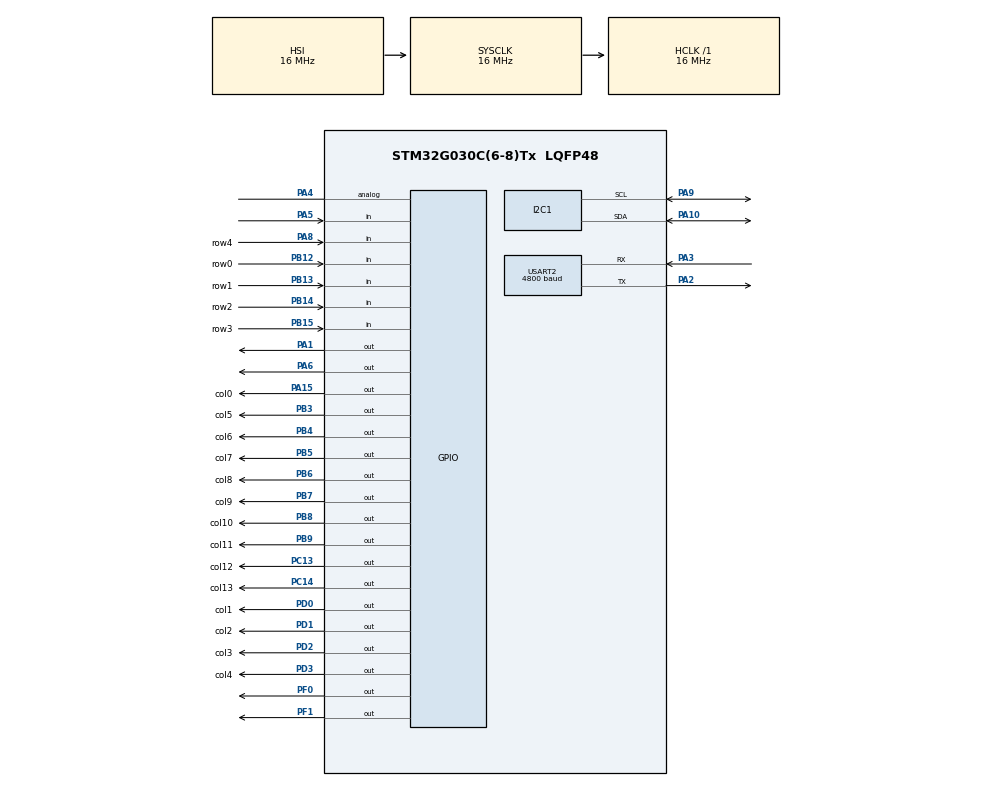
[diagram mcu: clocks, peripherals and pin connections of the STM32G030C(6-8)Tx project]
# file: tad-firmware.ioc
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Mcu.Family=STM32G0
Mcu.Name=STM32G030C(6-8)Tx
Mcu.Package=LQFP48
PA1.Signal=GPIO_Output
PA10.GPIO_Pu=GPIO_PULLUP
PA10.Mode=I2C
PA10.Signal=I2C1_SDA
PA13.Mode=Serial_Wire
PA13.Signal=SYS_SWDIO
PA14-BOOT0.Mode=Serial_Wire
PA14-BOOT0.Signal=SYS_SWCLK
PA15.GPIO_Label=col0
PA15.Signal=GPIO_Output
PA2.Mode=Asynchronous
PA2.Signal=USART2_TX
PA3.Mode=Asynchronous
PA3.Signal=USART2_RX
PA4.Signal=GPIO_Analog
PA5.GPIO_PuPd=GPIO_PULLUP
PA5.Signal=GPIO_Input
PA6.Signal=GPIO_Output
PA8.GPIO_Label=row4
PA8.GPIO_PuPd=GPIO_PULLDOWN
PA8.Signal=GPIO_Input
PA9.GPIO_Pu=GPIO_PULLUP
PA9.Mode=I2C
PA9.Signal=I2C1_SCL
PB12.GPIO_Label=row0
PB12.GPIO_PuPd=GPIO_PULLDOWN
PB12.Signal=GPIO_Input
PB13.GPIO_Label=row1
PB13.GPIO_PuPd=GPIO_PULLDOWN
PB13.Signal=GPIO_Input
PB14.GPIO_Label=row2
PB14.GPIO_PuPd=GPIO_PULLDOWN
PB14.Signal=GPIO_Input
PB15.GPIO_Label=row3
PB15.GPIO_PuPd=GPIO_PULLDOWN
PB15.Signal=GPIO_Input
PB3.GPIO_Label=col5
PB3.Signal=GPIO_Output
PB4.GPIO_Label=col6
PB4.Signal=GPIO_Output
PB5.GPIO_Label=col7
PB5.Signal=GPIO_Output
PB6.GPIO_Label=col8
PB6.Signal=GPIO_Output
PB7.GPIO_Label=col9
PB7.Signal=GPIO_Output
PB8.GPIO_Label=col10
PB8.Signal=GPIO_Output
PB9.GPIO_Label=col11
PB9.Signal=GPIO_Output
PC13.GPIO_Label=col12
PC13.Signal=GPIO_Output
PC14-OSC32_IN\ (PC14).GPIO_Label=col13
PC14-OSC32_IN\ (PC14).Signal=GPIO_Output
PD0.GPIO_Label=col1
PD0.Signal=GPIO_Output
PD1.GPIO_Label=col2
PD1.Signal=GPIO_Output
PD2.GPIO_Label=col3
PD2.Signal=GPIO_Output
PD3.GPIO_Label=col4
PD3.Signal=GPIO_Output
PF0-OSC_IN\ (PF0).Signal=GPIO_Output
PF1-OSC_OUT\ (PF1).Signal=GPIO_Output
ProjectManager.HeapSize=0x200
ProjectManager.StackSize=0x400
ProjectManager.TargetToolchain=STM32CubeIDE
RCC.AHBFreq_Value=16000000
RCC.CortexFreq_Value=16000000
RCC.EXTERNAL_CLOCK_VALUE=12288000
RCC.HCLKFreq_Value=16000000
RCC.HSE_VALUE=8000000
RCC.HSI_VALUE=16000000
RCC.LSE_VALUE=32768
RCC.SYSCLKFreq_VALUE=16000000
RCC.VCOOutputFreq_Value=128000000
TIM1.Prescaler=0
USART2.BaudRate=4800
USART2.SwapParam=ADVFEATURE_SWAP_DISABLE
USART2.VirtualMode-Asynchronous=VM_ASYNC
VP_TIM1_VS_ClockSourceINT.Mode=Internal
board=custom

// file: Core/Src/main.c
/* USER CODE BEGIN Header */
/**
 ******************************************************************************
 * @file           : main.c
 * @brief          : Main program body
 ******************************************************************************
 * @attention
 *
 * <h2><center>&copy; Copyright (c) 2021 STMicroelectronics.
 * All rights reserved.</center></h2>
 *
 * This software component is licensed by ST under BSD 3-Clause license,
 * the "License"; You may not use this file except in compliance with the
 * License. You may obtain a copy of the License at:
 *                        opensource.org/licenses/BSD-3-Clause
 *
 ******************************************************************************
 */
/* USER CODE END Header */
#include "main.h"

/* USER CODE BEGIN Includes */
#include <stdio.h>
#include <string.h>
#include <math.h>
/* USER CODE END Includes */

/* USER CODE BEGIN PD */
#define KEYBOARD_N_COLUMNS 14
#define KEYBOARD_N_ROWS 5

#define BYTE_TO_BINARY_PATTERN "%c%c%c%c%c%c%c%c"
#define BYTE_TO_BINARY(byte)     \
  (byte & 0x80 ? '1' : '0'),     \
      (byte & 0x40 ? '1' : '0'), \
      (byte & 0x20 ? '1' : '0'), \
      (byte & 0x10 ? '1' : '0'), \
      (byte & 0x08 ? '1' : '0'), \
      (byte & 0x04 ? '1' : '0'), \
      (byte & 0x02 ? '1' : '0'), \
      (byte & 0x01 ? '1' : '0')

#define KEYBOARD_NTA_FORMAT "1 %u %u\r\n%n"
#define KEYBOARD_NTA_REDIRECT_MESSAGE "@NTAREDIR@"
/* USER CODE END PD */

I2C_HandleTypeDef hi2c1;

TIM_HandleTypeDef htim1;

UART_HandleTypeDef huart2;

/* USER CODE BEGIN PV */
uint16_t KEYBOARD_COLUMN_PINS[KEYBOARD_N_COLUMNS] = {col0_Pin, col1_Pin, col2_Pin, col3_Pin, col4_Pin, col5_Pin, col6_Pin, col7_Pin, col8_Pin, col9_Pin, col10_Pin, col11_Pin, col12_Pin, col13_Pin};
GPIO_TypeDef *KEYBOARD_COLUMN_PORT[KEYBOARD_N_COLUMNS] = {col0_GPIO_Port, col1_GPIO_Port, col2_GPIO_Port, col3_GPIO_Port, col4_GPIO_Port, col5_GPIO_Port, col6_GPIO_Port, col7_GPIO_Port, col8_GPIO_Port, col9_GPIO_Port, col10_GPIO_Port, col11_GPIO_Port, col12_GPIO_Port, col13_GPIO_Port};
uint16_t KEYBOARD_ROW_PINS[KEYBOARD_N_ROWS] = {row0_Pin, row1_Pin, row2_Pin, row3_Pin, row4_Pin};
GPIO_TypeDef *KEYBOARD_ROW_PORT[KEYBOARD_N_ROWS] = {row0_GPIO_Port, row1_GPIO_Port, row2_GPIO_Port, row3_GPIO_Port, row4_GPIO_Port};

uint8_t KEYBOARD_STATE[KEYBOARD_N_COLUMNS][KEYBOARD_N_ROWS] = {0};
uint8_t KEYBOARD_STATE_LAST[KEYBOARD_N_COLUMNS][KEYBOARD_N_ROWS] = {0};
uint8_t KEYBOARD_PUSHED[KEYBOARD_N_COLUMNS][KEYBOARD_N_ROWS] = {0};
uint8_t KEYBOARD_RELEASED[KEYBOARD_N_COLUMNS][KEYBOARD_N_ROWS] = {0};
/* USER CODE END PV */

void SystemClock_Config(void);
static void MX_GPIO_Init(void);
static void MX_TIM1_Init(void);
static void MX_I2C1_Init(void);
static void MX_USART2_UART_Init(void);
/* USER CODE BEGIN PFP */
void print_adc();
/* USER CODE END PFP */

/* USER CODE BEGIN 0 */

void keyboard_set_nta_redirect(int toset)
{
  uint8_t MSG[32];
  memset(MSG, 0, sizeof(MSG));
  int msglen;
  sprintf(MSG, "%s %d\r\n%n", KEYBOARD_NTA_REDIRECT_MESSAGE, toset, &msglen);
  HAL_UART_Transmit(&huart2, MSG, msglen*sizeof(char), 100);
}

void delay_us(uint16_t us)
{
  __HAL_TIM_SET_COUNTER(&htim1, 0); // set the counter value a 0
  while (__HAL_TIM_GET_COUNTER(&htim1) < us)
    ; // wait for the counter to reach the us input in the parameter
}

void send_keys(int report)
{
  uint8_t MSG[16];
  for (int i = 0; i < KEYBOARD_N_COLUMNS; i++)
  {

    HAL_GPIO_WritePin(KEYBOARD_COLUMN_PORT[i], KEYBOARD_COLUMN_PINS[i], 1);

    for (int j = 0; j < KEYBOARD_N_ROWS; j++)
    {

      KEYBOARD_STATE_LAST[i][j] = KEYBOARD_STATE[i][j];
      KEYBOARD_STATE[i][j] = HAL_GPIO_ReadPin(KEYBOARD_ROW_PORT[j], KEYBOARD_ROW_PINS[j]);

      if (KEYBOARD_STATE_LAST[i][j] != KEYBOARD_STATE[i][j])
      {
        KEYBOARD_PUSHED[i][j] = KEYBOARD_STATE[i][j];
        KEYBOARD_RELEASED[i][j] = !KEYBOARD_STATE[i][j];
        memset(MSG, 0, sizeof(MSG));
        int msglength;
        sprintf(MSG, KEYBOARD_NTA_FORMAT, i + KEYBOARD_N_COLUMNS * j, KEYBOARD_STATE[i][j], &msglength);
        if (report)
          HAL_UART_Transmit(&huart2, MSG, msglength * sizeof(char), 100);
      }
    }

    HAL_GPIO_WritePin(KEYBOARD_COLUMN_PORT[i], KEYBOARD_COLUMN_PINS[i], 0);
  };
}

void print_adc()
{
  keyboard_set_nta_redirect(1);
  uint8_t writer = 0b10010000;
  HAL_I2C_Mem_Write(&hi2c1, 75 << 1, 0x3, I2C_MEMADD_SIZE_8BIT, &writer, 1, 0xFFF);
  uint8_t MSG[128] = {"\e[3J\033c\e[1;34mADC READS:\e[0m\r\n\n\n\n\n"};
  HAL_UART_Transmit(&huart2, MSG, sizeof(MSG), 100);
  int adresses_ADC[6] = {0xe, 0xF, 0x10, 0x11, 0x12, 0x13};
  float resolution_ADC[6] = {255, 255, 255, 128, 255, 255};
  float maxvalue_ADC[6] = {5.1, 5.1, 100, 7.62, 5.66, 3.39};
  const char *descriptions_ADC[6] = {"BatV", "SysV", "NTCV", "InpV", "ChgA", "InpA"};
  int i = 0;
  uint8_t reader;
  while (i < 6)
  {
    memset(MSG, 0, sizeof(MSG));
    HAL_I2C_Mem_Read(&hi2c1, 75 << 1, adresses_ADC[i], I2C_MEMADD_SIZE_8BIT, &reader, 1, 0xFFF);
    float input = reader;
    float temp1 = input / resolution_ADC[i];
    float output = temp1 * maxvalue_ADC[i];
    sprintf(MSG, "\r\n%s: %5.3f\r\n", descriptions_ADC[i], output);
    HAL_UART_Transmit(&huart2, MSG, sizeof(MSG), 100);
    i++;
  }
  keyboard_set_nta_redirect(0);
}

// This function is to be used with the debugger connected to the STM, in order to, in real time, modify an I2c device's memory.
void EDIT_I2C_MEMORY_DEBUG()
{
  keyboard_set_nta_redirect(1);
  uint8_t MSG[128] = {"\e[3J\033c\e[1;34mMemory Editing:\e[0m\r\n\n\n\n\n"};
  HAL_UART_Transmit(&huart2, MSG, sizeof(MSG), 100);
  HAL_GPIO_WritePin(GPIOA, GPIO_PIN_6, 1);
  HAL_Delay(150);
  HAL_GPIO_WritePin(GPIOA, GPIO_PIN_6, 0);
  int i = 0;
  uint8_t reader;
  // breakpoint here, edit i to select register to edit/view
  memset(MSG, 0, sizeof(MSG));
  HAL_I2C_Mem_Read(&hi2c1, 75 << 1, i, I2C_MEMADD_SIZE_8BIT, &reader, 1, 0xFFF);
  sprintf(MSG, "%u read as: " BYTE_TO_BINARY_PATTERN "\r\n", i, BYTE_TO_BINARY(reader));
  HAL_UART_Transmit(&huart2, MSG, sizeof(MSG), 100);
  // breakpoint here, edit reader to desired value
  sprintf(MSG, "%u changed to: " BYTE_TO_BINARY_PATTERN "\r\n", i, BYTE_TO_BINARY(reader));
  HAL_UART_Transmit(&huart2, MSG, sizeof(MSG), 100);
  HAL_I2C_Mem_Write(&hi2c1, 75 << 1, i, I2C_MEMADD_SIZE_8BIT, &reader, 1, 0xFFF);
  HAL_I2C_Mem_Read(&hi2c1, 75 << 1, i, I2C_MEMADD_SIZE_8BIT, &reader, 1, 0xFFF);
  sprintf(MSG, "%u confirm: " BYTE_TO_BINARY_PATTERN "\r\n", i, BYTE_TO_BINARY(reader));
  HAL_UART_Transmit(&huart2, MSG, sizeof(MSG), 100);
  keyboard_set_nta_redirect(0);
}
/* USER CODE END 0 */

int main(void)
{

  /* MCU Configuration--------------------------------------------------------*/

  /* Reset of all peripherals, Initializes the Flash interface and the Systick. */
  HAL_Init();

  /* Configure the system clock */
  SystemClock_Config();

  /* Initialize all configured peripherals */
  MX_GPIO_Init();
  MX_TIM1_Init();
  MX_I2C1_Init();
  MX_USART2_UART_Init();
  /* USER CODE BEGIN 2 */

  HAL_TIM_Base_Start(&htim1);
  /* USER CODE END 2 */

  /* Infinite loop */
  /* USER CODE BEGIN WHILE */

  // HAL_I2C_Mem_Read(&hi2c1, 75<<1, 0x00, I2C_MEMADD_SIZE_8BIT,&reader, 1, 0xFFF);
  uint8_t writer = 0b11111110;
  HAL_I2C_Mem_Write(&hi2c1, 75 << 1, 0x7, I2C_MEMADD_SIZE_8BIT, &writer, 1, 0xFFF);
  writer = 0b01001000;
  HAL_I2C_Mem_Write(&hi2c1, 75 << 1, 0x0, I2C_MEMADD_SIZE_8BIT, &writer, 1, 0xFFF);
  HAL_GPIO_WritePin(GPIOF, GPIO_PIN_1, 1);
  HAL_GPIO_WritePin(GPIOF, GPIO_PIN_0, 1);
  HAL_GPIO_WritePin(GPIOA, GPIO_PIN_1, 0);
  uint8_t MSG[64] = {"\r\nWelcome to TAD DEBUG\r\n\n\n\n\n"};
  HAL_UART_Transmit(&huart2, MSG, sizeof(MSG), 100);
  int globalstate = 3;
  int report_state = 1;
  while (1)
  {
    send_keys(report_state);
    if (KEYBOARD_PUSHED[0][0] && KEYBOARD_STATE[13][4])
      globalstate = 0;
    if (KEYBOARD_PUSHED[0][1] && KEYBOARD_STATE[13][4])
      globalstate = 1;
    if (KEYBOARD_PUSHED[0][2] && KEYBOARD_STATE[13][4])
      globalstate = 2;
    if (KEYBOARD_PUSHED[0][3] && KEYBOARD_STATE[13][4])
      globalstate = 3;
    if (KEYBOARD_PUSHED[0][4] && KEYBOARD_STATE[13][4])
      globalstate = 4;
    switch (globalstate)
    {
    case 0:
      print_adc();
      break;
    case 1:
      EDIT_I2C_MEMORY_DEBUG();
      break;
    case 2:
      if (!report_state)
        report_state = 1;
      else
        report_state = 0;
      globalstate = 3;
      break;
    case 3:
      break;
    case 4:
      HAL_UART_Transmit(&huart2, "list\n", sizeof("list\n"), 100);
      globalstate = 3;
      break;
    }
    //}
    /* USER CODE END WHILE */

  }
}

void SystemClock_Config(void)
{
  RCC_OscInitTypeDef RCC_OscInitStruct = {0};
  RCC_ClkInitTypeDef RCC_ClkInitStruct = {0};

  /** Configure the main internal regulator output voltage
   */
  HAL_PWREx_ControlVoltageScaling(PWR_REGULATOR_VOLTAGE_SCALE1);

  /** Initializes the RCC Oscillators according to the specified parameters
   * in the RCC_OscInitTypeDef structure.
   */
  RCC_OscInitStruct.OscillatorType = RCC_OSCILLATORTYPE_HSI;
  RCC_OscInitStruct.HSIState = RCC_HSI_ON;
  RCC_OscInitStruct.HSIDiv = RCC_HSI_DIV1;
  RCC_OscInitStruct.HSICalibrationValue = RCC_HSICALIBRATION_DEFAULT;
  RCC_OscInitStruct.PLL.PLLState = RCC_PLL_NONE;
  if (HAL_RCC_OscConfig(&RCC_OscInitStruct) != HAL_OK)
  {
    Error_Handler();
  }

  /** Initializes the CPU, AHB and APB buses clocks
   */
  RCC_ClkInitStruct.ClockType = RCC_CLOCKTYPE_HCLK | RCC_CLOCKTYPE_SYSCLK | RCC_CLOCKTYPE_PCLK1;
  RCC_ClkInitStruct.SYSCLKSource = RCC_SYSCLKSOURCE_HSI;
  RCC_ClkInitStruct.AHBCLKDivider = RCC_SYSCLK_DIV1;
  RCC_ClkInitStruct.APB1CLKDivider = RCC_HCLK_DIV1;

  if (HAL_RCC_ClockConfig(&RCC_ClkInitStruct, FLASH_LATENCY_0) != HAL_OK)
  {
    Error_Handler();
  }
}

static void MX_I2C1_Init(void)
{

  hi2c1.Instance = I2C1;
  hi2c1.Init.Timing = 0x00303D5B;
  hi2c1.Init.OwnAddress1 = 0;
  hi2c1.Init.AddressingMode = I2C_ADDRESSINGMODE_7BIT;
  hi2c1.Init.DualAddressMode = I2C_DUALADDRESS_DISABLE;
  hi2c1.Init.OwnAddress2 = 0;
  hi2c1.Init.OwnAddress2Masks = I2C_OA2_NOMASK;
  hi2c1.Init.GeneralCallMode = I2C_GENERALCALL_DISABLE;
  hi2c1.Init.NoStretchMode = I2C_NOSTRETCH_DISABLE;
  if (HAL_I2C_Init(&hi2c1) != HAL_OK)
  {
    Error_Handler();
  }

  /** Configure Analogue filter
   */
  if (HAL_I2CEx_ConfigAnalogFilter(&hi2c1, I2C_ANALOGFILTER_ENABLE) != HAL_OK)
  {
    Error_Handler();
  }

  /** Configure Digital filter
   */
  if (HAL_I2CEx_ConfigDigitalFilter(&hi2c1, 0) != HAL_OK)
  {
    Error_Handler();
  }
}

static void MX_TIM1_Init(void)
{

  TIM_ClockConfigTypeDef sClockSourceConfig = {0};
  TIM_MasterConfigTypeDef sMasterConfig = {0};

  htim1.Instance = TIM1;
  htim1.Init.Prescaler = 0;
  htim1.Init.CounterMode = TIM_COUNTERMODE_UP;
  htim1.Init.Period = 65535;
  htim1.Init.ClockDivision = TIM_CLOCKDIVISION_DIV1;
  htim1.Init.RepetitionCounter = 0;
  htim1.Init.AutoReloadPreload = TIM_AUTORELOAD_PRELOAD_DISABLE;
  if (HAL_TIM_Base_Init(&htim1) != HAL_OK)
  {
    Error_Handler();
  }
  sClockSourceConfig.ClockSource = TIM_CLOCKSOURCE_INTERNAL;
  if (HAL_TIM_ConfigClockSource(&htim1, &sClockSourceConfig) != HAL_OK)
  {
    Error_Handler();
  }
  sMasterConfig.MasterOutputTrigger = TIM_TRGO_RESET;
  sMasterConfig.MasterOutputTrigger2 = TIM_TRGO2_RESET;
  sMasterConfig.MasterSlaveMode = TIM_MASTERSLAVEMODE_DISABLE;
  if (HAL_TIMEx_MasterConfigSynchronization(&htim1, &sMasterConfig) != HAL_OK)
  {
    Error_Handler();
  }
}

static void MX_USART2_UART_Init(void)
{

  huart2.Instance = USART2;
  huart2.Init.BaudRate = 4800;
  huart2.Init.WordLength = UART_WORDLENGTH_8B;
  huart2.Init.StopBits = UART_STOPBITS_1;
  huart2.Init.Parity = UART_PARITY_NONE;
  huart2.Init.Mode = UART_MODE_TX_RX;
  huart2.Init.HwFlowCtl = UART_HWCONTROL_NONE;
  huart2.Init.OverSampling = UART_OVERSAMPLING_16;
  huart2.Init.OneBitSampling = UART_ONE_BIT_SAMPLE_DISABLE;
  huart2.Init.ClockPrescaler = UART_PRESCALER_DIV1;
  huart2.AdvancedInit.AdvFeatureInit = UART_ADVFEATURE_NO_INIT;
  if (HAL_UART_Init(&huart2) != HAL_OK)
  {
    Error_Handler();
  }
}

static void MX_GPIO_Init(void)
{
  GPIO_InitTypeDef GPIO_InitStruct = {0};

  /* GPIO Ports Clock Enable */
  __HAL_RCC_GPIOC_CLK_ENABLE();
  __HAL_RCC_GPIOF_CLK_ENABLE();
  __HAL_RCC_GPIOA_CLK_ENABLE();
  __HAL_RCC_GPIOB_CLK_ENABLE();
  __HAL_RCC_GPIOD_CLK_ENABLE();

  /*Configure GPIO pin Output Level */
  HAL_GPIO_WritePin(GPIOC, col12_Pin | col13_Pin, GPIO_PIN_RESET);

  /*Configure GPIO pin Output Level */
  HAL_GPIO_WritePin(GPIOF, GPIO_PIN_0 | GPIO_PIN_1, GPIO_PIN_RESET);

  /*Configure GPIO pin Output Level */
  HAL_GPIO_WritePin(GPIOA, GPIO_PIN_1 | GPIO_PIN_6 | col0_Pin, GPIO_PIN_RESET);

  /*Configure GPIO pin Output Level */
  HAL_GPIO_WritePin(GPIOD, col1_Pin | col2_Pin | col3_Pin | col4_Pin, GPIO_PIN_RESET);

  /*Configure GPIO pin Output Level */
  HAL_GPIO_WritePin(GPIOB, col5_Pin | col6_Pin | col7_Pin | col8_Pin | col9_Pin | col10_Pin | col11_Pin, GPIO_PIN_RESET);

  /*Configure GPIO pins : col12_Pin col13_Pin */
  GPIO_InitStruct.Pin = col12_Pin | col13_Pin;
  GPIO_InitStruct.Mode = GPIO_MODE_OUTPUT_PP;
  GPIO_InitStruct.Pull = GPIO_NOPULL;
  GPIO_InitStruct.Speed = GPIO_SPEED_FREQ_LOW;
  HAL_GPIO_Init(GPIOC, &GPIO_InitStruct);

  /*Configure GPIO pins : PF0 PF1 */
  GPIO_InitStruct.Pin = GPIO_PIN_0 | GPIO_PIN_1;
  GPIO_InitStruct.Mode = GPIO_MODE_OUTPUT_PP;
  GPIO_InitStruct.Pull = GPIO_NOPULL;
  GPIO_InitStruct.Speed = GPIO_SPEED_FREQ_LOW;
  HAL_GPIO_Init(GPIOF, &GPIO_InitStruct);

  /*Configure GPIO pins : PA1 PA6 col0_Pin */
  GPIO_InitStruct.Pin = GPIO_PIN_1 | GPIO_PIN_6 | col0_Pin;
  GPIO_InitStruct.Mode = GPIO_MODE_OUTPUT_PP;
  GPIO_InitStruct.Pull = GPIO_NOPULL;
  GPIO_InitStruct.Speed = GPIO_SPEED_FREQ_LOW;
  HAL_GPIO_Init(GPIOA, &GPIO_InitStruct);

  /*Configure GPIO pin : PA4 */
  GPIO_InitStruct.Pin = GPIO_PIN_4;
  GPIO_InitStruct.Mode = GPIO_MODE_ANALOG;
  GPIO_InitStruct.Pull = GPIO_NOPULL;
  HAL_GPIO_Init(GPIOA, &GPIO_InitStruct);

  /*Configure GPIO pin : PA5 */
  GPIO_InitStruct.Pin = GPIO_PIN_5;
  GPIO_InitStruct.Mode = GPIO_MODE_INPUT;
  GPIO_InitStruct.Pull = GPIO_PULLUP;
  HAL_GPIO_Init(GPIOA, &GPIO_InitStruct);

  /*Configure GPIO pins : row0_Pin row1_Pin row2_Pin row3_Pin */
  GPIO_InitStruct.Pin = row0_Pin | row1_Pin | row2_Pin | row3_Pin;
  GPIO_InitStruct.Mode = GPIO_MODE_INPUT;
  GPIO_InitStruct.Pull = GPIO_PULLDOWN;
  HAL_GPIO_Init(GPIOB, &GPIO_InitStruct);

  /*Configure GPIO pin : row4_Pin */
  GPIO_InitStruct.Pin = row4_Pin;
  GPIO_InitStruct.Mode = GPIO_MODE_INPUT;
  GPIO_InitStruct.Pull = GPIO_PULLDOWN;
  HAL_GPIO_Init(row4_GPIO_Port, &GPIO_InitStruct);

  /*Configure GPIO pins : col1_Pin col2_Pin col3_Pin col4_Pin */
  GPIO_InitStruct.Pin = col1_Pin | col2_Pin | col3_Pin | col4_Pin;
  GPIO_InitStruct.Mode = GPIO_MODE_OUTPUT_PP;
  GPIO_InitStruct.Pull = GPIO_NOPULL;
  GPIO_InitStruct.Speed = GPIO_SPEED_FREQ_LOW;
  HAL_GPIO_Init(GPIOD, &GPIO_InitStruct);

  /*Configure GPIO pins : col5_Pin col6_Pin col7_Pin col8_Pin
                           col9_Pin col10_Pin col11_Pin */
  GPIO_InitStruct.Pin = col5_Pin | col6_Pin | col7_Pin | col8_Pin | col9_Pin | col10_Pin | col11_Pin;
  GPIO_InitStruct.Mode = GPIO_MODE_OUTPUT_PP;
  GPIO_InitStruct.Pull = GPIO_NOPULL;
  GPIO_InitStruct.Speed = GPIO_SPEED_FREQ_LOW;
  HAL_GPIO_Init(GPIOB, &GPIO_InitStruct);

}

void Error_Handler(void)
{
  __disable_irq();
  while (1)
  {
  }
}
